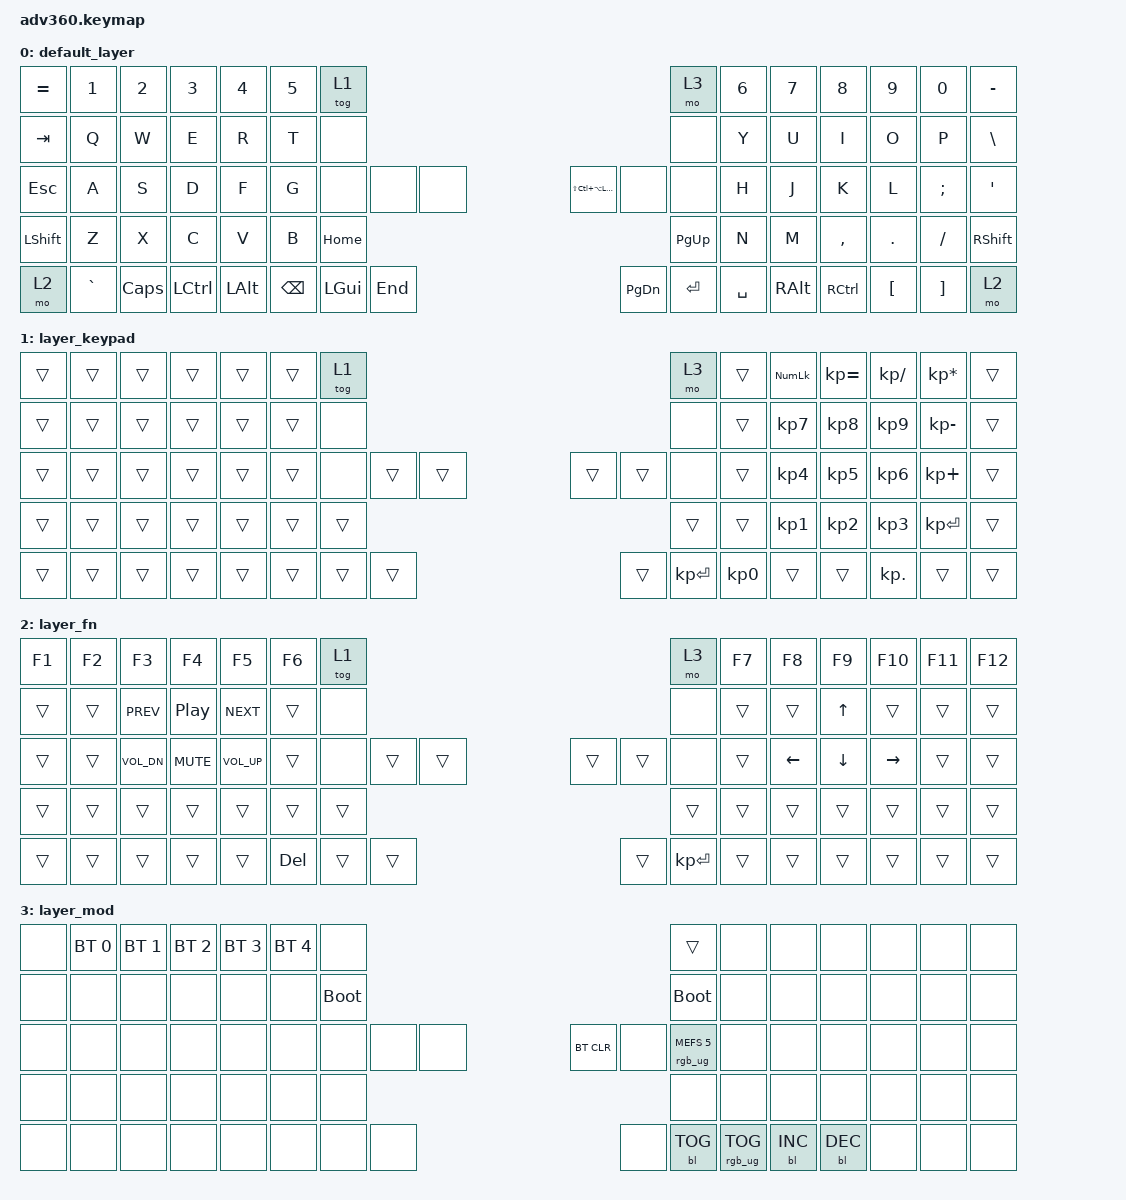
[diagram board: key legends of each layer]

/*
 * Copyright (c) 2020 The ZMK Contributors
 *
 * SPDX-License-Identifier: MIT
 */


/* THIS FILE WAS GENERATED!
 *
 * This file was generated automatically. You may or may not want to
 * edit it directly.
 */

#include <behaviors.dtsi>
#include <dt-bindings/zmk/keys.h>
#include <dt-bindings/zmk/bt.h>
#include <dt-bindings/zmk/rgb.h>
#include <dt-bindings/zmk/backlight.h>

/ {
  behaviors {
    #include "macros.dtsi"
    #include "version.dtsi"

    hm: homerow_mods {
        compatible = "zmk,behavior-hold-tap";
        label = "HOMEROW_MODS";
        #binding-cells = <2>;
        tapping-term-ms = <200>;
        quick_tap_ms = <175>;
        flavor = "tap-preferred";
        bindings = <&kp>, <&kp>;
    };
  };

    keymap {
        compatible = "zmk,keymap";


        default_layer {
            bindings = <
 &kp EQUAL     &kp N1    &kp N2            &kp N3        &kp N4  &kp N5              &tog 1                                                                               &mo 3  &kp N6         &kp N7             &kp N8    &kp N9    &kp N0  &kp MINUS
   &kp TAB      &kp Q     &kp W             &kp E         &kp R   &kp T               &none                                                                               &none   &kp Y          &kp U              &kp I     &kp O     &kp P   &kp BSLH
   &kp ESC      &kp A     &kp S             &kp D         &kp F   &kp G               &none         &none     &none                  &kp LS(LC(LA(LGUI)))      &none      &none   &kp H          &kp J              &kp K     &kp L  &kp SEMI    &kp SQT
 &kp LSHFT      &kp Z     &kp X             &kp C         &kp V   &kp B                                    &kp HOME                             &kp PG_UP                         &kp N          &kp M          &kp COMMA   &kp DOT  &kp FSLH  &kp RSHFT
     &mo 2  &kp GRAVE  &kp CAPS  &kp LEFT_CONTROL  &kp LEFT_ALT                    &kp BSPC  &kp LEFT_GUI   &kp END                             &kp PG_DN  &kp ENTER  &kp SPACE          &kp RIGHT_ALT  &kp RIGHT_CONTROL  &kp LBKT  &kp RBKT      &mo 2
            >;
        };

        layer_keypad {
            bindings = <
 &trans  &trans  &trans  &trans  &trans  &trans            &tog 1                                                            &mo 3  &trans  &kp KP_NUM  &kp KP_EQUAL  &kp KP_DIVIDE  &kp KP_MULTIPLY  &trans
 &trans  &trans  &trans  &trans  &trans  &trans             &none                                                            &none  &trans   &kp KP_N7     &kp KP_N8      &kp KP_N9     &kp KP_MINUS  &trans
 &trans  &trans  &trans  &trans  &trans  &trans             &none  &trans  &trans                  &trans        &trans      &none  &trans   &kp KP_N4     &kp KP_N5      &kp KP_N6      &kp KP_PLUS  &trans
 &trans  &trans  &trans  &trans  &trans  &trans                            &trans                  &trans                           &trans   &kp KP_N1     &kp KP_N2      &kp KP_N3     &kp KP_ENTER  &trans
 &trans  &trans  &trans  &trans  &trans                    &trans  &trans  &trans                  &trans  &kp KP_ENTER  &kp KP_N0              &trans        &trans     &kp KP_DOT           &trans  &trans
            >;
        };

        layer_fn {
            bindings = <
 &kp F1  &kp F2        &kp F3            &kp F4        &kp F5  &kp F6             &tog 1                                                         &mo 3  &kp F7          &kp F8          &kp F9          &kp F10  &kp F11  &kp F12
 &trans  &trans    &kp C_PREV  &kp C_PLAY_PAUSE    &kp C_NEXT  &trans              &none                                                         &none  &trans          &trans    &kp UP_ARROW           &trans   &trans   &trans
 &trans  &trans  &kp C_VOL_DN        &kp C_MUTE  &kp C_VOL_UP  &trans              &none  &trans  &trans                  &trans        &trans   &none  &trans  &kp LEFT_ARROW  &kp DOWN_ARROW  &kp RIGHT_ARROW   &trans   &trans
 &trans  &trans        &trans            &trans        &trans  &trans                             &trans                  &trans                        &trans          &trans          &trans           &trans   &trans   &trans
 &trans  &trans        &trans            &trans        &trans                    &kp DEL  &trans  &trans                  &trans  &kp KP_ENTER  &trans                  &trans          &trans           &trans   &trans   &trans
            >;
        };

        layer_mod {
            bindings = <
  &none  &bt BT_SEL 0  &bt BT_SEL 1  &bt BT_SEL 2  &bt BT_SEL 3  &bt BT_SEL 4                  &none                                                                          &trans   &none       &none       &none   &none   &none   &none
  &none         &none         &none         &none         &none         &none            &bootloader                                                                     &bootloader   &none       &none       &none   &none   &none   &none
  &none         &none         &none         &none         &none         &none                  &none   &none   &none                  &bt BT_CLR       &none  &rgb_ug RGB_MEFS_CMD 5   &none       &none       &none   &none   &none   &none
  &none         &none         &none         &none         &none         &none                                  &none                       &none                                       &none       &none       &none   &none   &none   &none
  &none         &none         &none         &none         &none                                &none   &none   &none                       &none  &bl BL_TOG         &rgb_ug RGB_TOG          &bl BL_INC  &bl BL_DEC   &none   &none   &none
            >;
        };

    };
};
